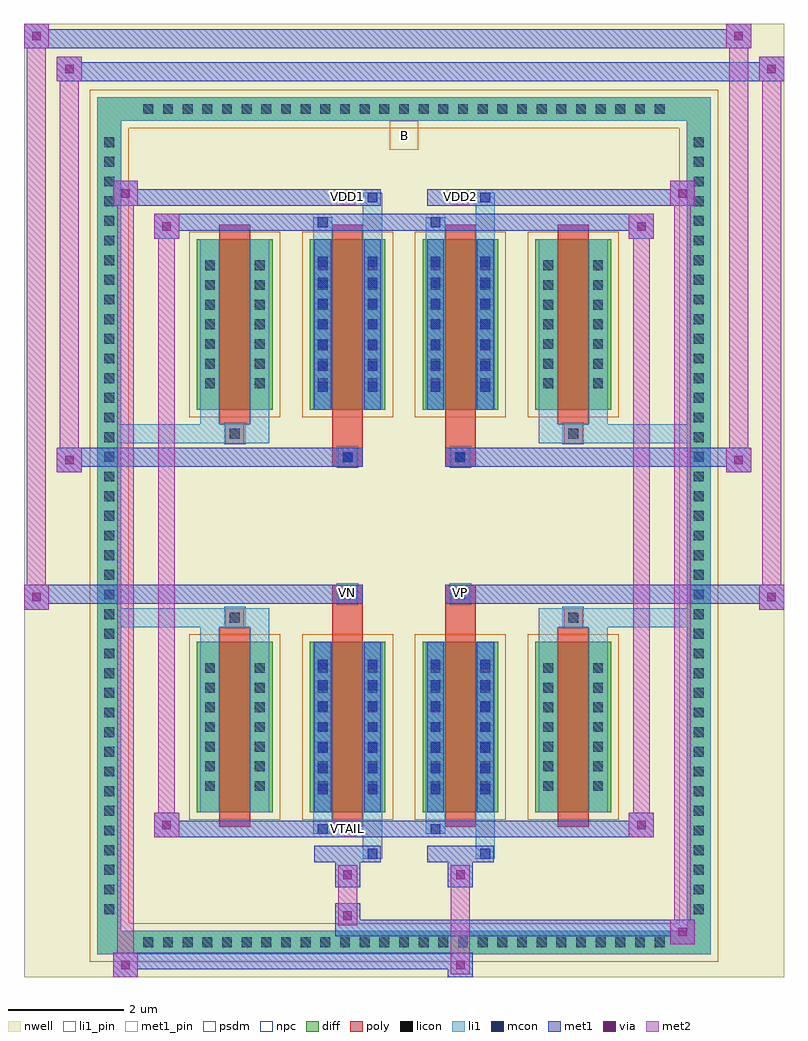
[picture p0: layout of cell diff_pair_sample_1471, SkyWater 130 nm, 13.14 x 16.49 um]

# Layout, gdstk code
import gdstk
lib = gdstk.Library(unit=1e-6, precision=5e-09)
def R(c, l, rs):  # rectangles x0, y0, x1, y1
    for r in rs: c.add(gdstk.rectangle(r[:2], r[2:], *l))
def A(c, l, x, y, w, h, nx, ny, dx, dy):  # array of equal rectangles
    R(c, l, [(x+i*dx, y+j*dy, x+i*dx+w, y+j*dy+h) for i in range(nx) for j in range(ny)])
def P(c, l, *ps):  # polygons
    for p in ps: c.add(gdstk.Polygon(p, *l))
nwell = (64, 20)
diff = (65, 20)
poly = (66, 20)
licon = (66, 44)
li1_pin = (67, 16)
li1 = (67, 20)
mcon = (67, 44)
met1_pin = (68, 16)
met1 = (68, 20)
via = (68, 44)
met2 = (69, 20)
psdm = (94, 20)
npc = (95, 20)

diff_pair_sample_1471 = lib.new_cell('diff_pair_sample_1471')
R(diff_pair_sample_1471, nwell, [(-6.57,-7.81,6.57,8.68), (-3.89,-6,-0.01,-0.82), (0.01,-6,3.89,-0.82), (-3.89,0.82,-0.01,6), (0.01,0.82,3.89,6)])
A(diff_pair_sample_1471, diff, -4.625, -7.41, 0.41, 0.41, 27, 2, 0.34, 14.41)
A(diff_pair_sample_1471, diff, -5.3, -6.835, 0.41, 0.41, 1, 40, 0, 0.34)
A(diff_pair_sample_1471, diff, 4.89, -6.835, 0.41, 0.41, 1, 40, 0, 0.34)
A(diff_pair_sample_1471, diff, -3.58, -4.955, 1.31, 2.95, 4, 2, 1.95, 6.96)
R(diff_pair_sample_1471, diff, [(-4.625,-7.41,4.625,-7), (-5.3,-6.835,-4.89,6.835), (4.89,-6.835,5.3,6.835), (-4.625,7,4.625,7.41)])
P(diff_pair_sample_1471, diff, [(5.3,7.41),(-5.3,7.41),(-5.3,-7),(-4.89,-7),(-4.89,7),(4.89,7),(4.89,-7),(-4.89,-7),(-5.3,-7),(-5.3,-7.41),(5.3,-7.41)])
A(diff_pair_sample_1471, poly, -3.19, -5.205, 0.53, 3.45, 4, 2, 1.95, 6.96)
R(diff_pair_sample_1471, poly, [(-3.09,-1.755,-2.76,-1.425), (-3.09,-1.755,-2.76,-1.425), (-1.24,-1.755,-0.71,-1.35), (0.71,-1.755,1.24,-1.35), (2.76,-1.755,3.09,-1.425), (2.76,-1.755,3.09,-1.425), (-1.24,-1.35,-0.71,-1.02), (-1.14,-1.35,-0.81,-1.02), (0.71,-1.35,1.24,-1.02), (0.81,-1.35,1.14,-1.02), (-1.24,1.02,-0.71,1.35), (-1.14,1.02,-0.81,1.35), (0.71,1.02,1.24,1.35), (0.81,1.02,1.14,1.35), (-1.24,1.35,-0.71,1.755), (0.71,1.35,1.24,1.755), (-3.09,1.425,-2.76,1.755), (-3.09,1.425,-2.76,1.755), (2.76,1.425,3.09,1.755), (2.76,1.425,3.09,1.755)])
A(diff_pair_sample_1471, licon, -4.505, -7.29, 0.17, 0.17, 27, 2, 0.34, 14.41)
A(diff_pair_sample_1471, licon, -5.18, -6.715, 0.17, 0.17, 1, 40, 0, 0.34)
A(diff_pair_sample_1471, licon, 5.01, -6.715, 0.17, 0.17, 1, 40, 0, 0.34)
A(diff_pair_sample_1471, licon, -3.44, -4.585, 0.17, 0.17, 1, 7, 0, 0.34)
A(diff_pair_sample_1471, licon, -2.58, -4.585, 0.17, 0.17, 1, 7, 0, 0.34)
A(diff_pair_sample_1471, licon, -1.49, -4.585, 0.17, 0.17, 1, 7, 0, 0.34)
A(diff_pair_sample_1471, licon, -0.63, -4.585, 0.17, 0.17, 1, 7, 0, 0.34)
A(diff_pair_sample_1471, licon, 0.46, -4.585, 0.17, 0.17, 1, 7, 0, 0.34)
A(diff_pair_sample_1471, licon, 1.32, -4.585, 0.17, 0.17, 1, 7, 0, 0.34)
A(diff_pair_sample_1471, licon, 2.41, -4.585, 0.17, 0.17, 1, 7, 0, 0.34)
A(diff_pair_sample_1471, licon, 3.27, -4.585, 0.17, 0.17, 1, 7, 0, 0.34)
A(diff_pair_sample_1471, licon, -3.44, 2.375, 0.17, 0.17, 1, 7, 0, 0.34)
A(diff_pair_sample_1471, licon, -2.58, 2.375, 0.17, 0.17, 1, 7, 0, 0.34)
A(diff_pair_sample_1471, licon, -1.49, 2.375, 0.17, 0.17, 1, 7, 0, 0.34)
A(diff_pair_sample_1471, licon, -0.63, 2.375, 0.17, 0.17, 1, 7, 0, 0.34)
A(diff_pair_sample_1471, licon, 0.46, 2.375, 0.17, 0.17, 1, 7, 0, 0.34)
A(diff_pair_sample_1471, licon, 1.32, 2.375, 0.17, 0.17, 1, 7, 0, 0.34)
A(diff_pair_sample_1471, licon, 2.41, 2.375, 0.17, 0.17, 1, 7, 0, 0.34)
A(diff_pair_sample_1471, licon, 3.27, 2.375, 0.17, 0.17, 1, 7, 0, 0.34)
R(diff_pair_sample_1471, licon, [(-3.01,-1.675,-2.84,-1.505), (2.84,-1.675,3.01,-1.505), (-1.06,-1.27,-0.89,-1.1), (0.89,-1.27,1.06,-1.1), (-1.06,1.1,-0.89,1.27), (0.89,1.1,1.06,1.27), (-3.01,1.505,-2.84,1.675), (2.84,1.505,3.01,1.675)])
R(diff_pair_sample_1471, li1_pin, [(-0.25,6.5,0.25,7)])
A(diff_pair_sample_1471, li1, -4.585, -7.37, 0.33, 0.33, 27, 2, 0.34, 14.41)
A(diff_pair_sample_1471, li1, -5.26, -6.795, 0.33, 0.33, 1, 40, 0, 0.34)
A(diff_pair_sample_1471, li1, 4.93, -6.795, 0.33, 0.33, 1, 40, 0, 0.34)
A(diff_pair_sample_1471, li1, -3.52, -4.665, 0.33, 0.33, 1, 7, 0, 0.34)
A(diff_pair_sample_1471, li1, -2.66, -4.665, 0.33, 0.33, 1, 7, 0, 0.34)
A(diff_pair_sample_1471, li1, -1.57, -4.665, 0.33, 0.33, 1, 7, 0, 0.34)
A(diff_pair_sample_1471, li1, -0.71, -4.665, 0.33, 0.33, 1, 7, 0, 0.34)
A(diff_pair_sample_1471, li1, 0.38, -4.665, 0.33, 0.33, 1, 7, 0, 0.34)
A(diff_pair_sample_1471, li1, 1.24, -4.665, 0.33, 0.33, 1, 7, 0, 0.34)
A(diff_pair_sample_1471, li1, 2.33, -4.665, 0.33, 0.33, 1, 7, 0, 0.34)
A(diff_pair_sample_1471, li1, 3.19, -4.665, 0.33, 0.33, 1, 7, 0, 0.34)
A(diff_pair_sample_1471, li1, -1.49, -4.645, 0.17, 0.17, 1, 7, 0, 0.36)
A(diff_pair_sample_1471, li1, -0.63, -4.645, 0.17, 0.17, 1, 7, 0, 0.36)
A(diff_pair_sample_1471, li1, 0.46, -4.645, 0.17, 0.17, 1, 7, 0, 0.36)
A(diff_pair_sample_1471, li1, 1.32, -4.645, 0.17, 0.17, 1, 7, 0, 0.36)
A(diff_pair_sample_1471, li1, -3.52, 2.295, 0.33, 0.33, 1, 7, 0, 0.34)
A(diff_pair_sample_1471, li1, -2.66, 2.295, 0.33, 0.33, 1, 7, 0, 0.34)
A(diff_pair_sample_1471, li1, -1.57, 2.295, 0.33, 0.33, 1, 7, 0, 0.34)
A(diff_pair_sample_1471, li1, -0.71, 2.295, 0.33, 0.33, 1, 7, 0, 0.34)
A(diff_pair_sample_1471, li1, 0.38, 2.295, 0.33, 0.33, 1, 7, 0, 0.34)
A(diff_pair_sample_1471, li1, 1.24, 2.295, 0.33, 0.33, 1, 7, 0, 0.34)
A(diff_pair_sample_1471, li1, 2.33, 2.295, 0.33, 0.33, 1, 7, 0, 0.34)
A(diff_pair_sample_1471, li1, 3.19, 2.295, 0.33, 0.33, 1, 7, 0, 0.34)
A(diff_pair_sample_1471, li1, -1.49, 2.315, 0.17, 0.17, 1, 7, 0, 0.36)
A(diff_pair_sample_1471, li1, -0.63, 2.315, 0.17, 0.17, 1, 7, 0, 0.36)
A(diff_pair_sample_1471, li1, 0.46, 2.315, 0.17, 0.17, 1, 7, 0, 0.36)
A(diff_pair_sample_1471, li1, 1.32, 2.315, 0.17, 0.17, 1, 7, 0, 0.36)
R(diff_pair_sample_1471, li1, [(-5.3,-7.41,-4.89,-7), (-5.3,-7.41,-4.89,-7), (-4.89,-7.41,4.89,-7), (4.89,-7.41,5.3,-7), (4.89,-7.41,5.3,-7), (-5.3,-7,-4.89,7), (4.89,-7,5.3,7), (-0.71,-5.76,-0.38,-4.955), (-0.63,-5.76,-0.46,-5.59), (1.24,-5.76,1.57,-4.955), (1.32,-5.76,1.49,-5.59), (-1.57,-5.33,-1.24,-4.955), (-1.49,-5.33,-1.32,-5.16), (0.38,-5.33,0.71,-4.955), (0.46,-5.33,0.63,-5.16), (-3.52,-4.955,-3.19,-2.005), (-2.66,-4.955,-2.33,-2.005), (-1.57,-4.955,-1.24,-2.005), (-0.71,-4.955,-0.38,-2.005), (0.38,-4.955,0.71,-2.005), (1.24,-4.955,1.57,-2.005), (2.33,-4.955,2.66,-2.005), (3.19,-4.955,3.52,-2.005), (-1.49,-4.645,-1.32,-2.315), (-0.63,-4.645,-0.46,-2.315), (0.46,-4.645,0.63,-2.315), (1.32,-4.645,1.49,-2.315), (-3.52,-2.005,-3.19,-1.425), (-2.66,-2.005,-2.33,-1.425), (2.33,-2.005,2.66,-1.425), (3.19,-2.005,3.52,-1.425), (-5.3,-1.755,-3.09,-1.425), (-3.52,-1.755,-3.09,-1.425), (-3.09,-1.755,-2.76,-1.425), (-2.76,-1.755,-2.33,-1.425), (2.33,-1.755,2.76,-1.425), (2.76,-1.755,3.09,-1.425), (2.76,-1.755,5.3,-1.425), (3.09,-1.755,3.52,-1.425), (-1.14,-1.35,-0.81,-1.02), (0.81,-1.35,1.14,-1.02), (-1.14,1.02,-0.81,1.35), (0.81,1.02,1.14,1.35), (-5.3,1.425,-3.09,1.755), (-3.52,1.425,-3.09,1.755), (-3.52,1.425,-3.19,2.005), (-3.09,1.425,-2.76,1.755), (-2.76,1.425,-2.33,1.755), (-2.66,1.425,-2.33,2.005), (2.33,1.425,2.76,1.755), (2.33,1.425,2.66,2.005), (2.76,1.425,3.09,1.755), (2.76,1.425,5.3,1.755), (3.09,1.425,3.52,1.755), (3.19,1.425,3.52,2.005), (-3.52,2.005,-3.19,4.955), (-2.66,2.005,-2.33,4.955), (-1.57,2.005,-1.24,4.955), (-0.71,2.005,-0.38,4.955), (0.38,2.005,0.71,4.955), (1.24,2.005,1.57,4.955), (2.33,2.005,2.66,4.955), (3.19,2.005,3.52,4.955), (-1.49,2.315,-1.32,4.645), (-0.63,2.315,-0.46,4.645), (0.46,2.315,0.63,4.645), (1.32,2.315,1.49,4.645), (-1.57,4.955,-1.24,5.33), (-0.71,4.955,-0.38,5.76), (0.38,4.955,0.71,5.33), (1.24,4.955,1.57,5.76), (-1.49,5.16,-1.32,5.33), (0.46,5.16,0.63,5.33), (-0.63,5.59,-0.46,5.76), (1.32,5.59,1.49,5.76), (-5.3,7,-4.89,7.41), (-5.3,7,-4.89,7.41), (-4.89,7,4.89,7.41), (4.89,7,5.3,7.41), (4.89,7,5.3,7.41)])
A(diff_pair_sample_1471, mcon, -1.49, -4.645, 0.17, 0.17, 1, 7, 0, 0.36)
A(diff_pair_sample_1471, mcon, -0.63, -4.645, 0.17, 0.17, 1, 7, 0, 0.36)
A(diff_pair_sample_1471, mcon, 0.46, -4.645, 0.17, 0.17, 1, 7, 0, 0.36)
A(diff_pair_sample_1471, mcon, 1.32, -4.645, 0.17, 0.17, 1, 7, 0, 0.36)
A(diff_pair_sample_1471, mcon, -1.49, 2.315, 0.17, 0.17, 1, 7, 0, 0.36)
A(diff_pair_sample_1471, mcon, -0.63, 2.315, 0.17, 0.17, 1, 7, 0, 0.36)
A(diff_pair_sample_1471, mcon, 0.46, 2.315, 0.17, 0.17, 1, 7, 0, 0.36)
A(diff_pair_sample_1471, mcon, 1.32, 2.315, 0.17, 0.17, 1, 7, 0, 0.36)
R(diff_pair_sample_1471, mcon, [(-0.63,-5.76,-0.46,-5.59), (1.32,-5.76,1.49,-5.59), (-1.49,-5.33,-1.32,-5.16), (0.46,-5.33,0.63,-5.16), (-1.06,-1.27,-0.89,-1.1), (0.89,-1.27,1.06,-1.1), (-1.06,1.1,-0.89,1.27), (0.89,1.1,1.06,1.27), (-1.49,5.16,-1.32,5.33), (0.46,5.16,0.63,5.33), (-0.63,5.59,-0.46,5.76), (1.32,5.59,1.49,5.76)])
R(diff_pair_sample_1471, met1_pin, [(-1.11,-5.37,-0.84,-5.1), (-1.11,-1.29,-0.84,-1.02), (0.84,-1.29,1.11,-1.02), (-1.11,5.55,-0.84,5.82), (0.84,5.55,1.11,5.82)])
A(diff_pair_sample_1471, met1, -1.55, -4.705, 0.29, 0.29, 1, 7, 0, 0.36)
A(diff_pair_sample_1471, met1, -0.69, -4.705, 0.29, 0.29, 1, 7, 0, 0.36)
A(diff_pair_sample_1471, met1, 0.4, -4.705, 0.29, 0.29, 1, 7, 0, 0.36)
A(diff_pair_sample_1471, met1, 1.26, -4.705, 0.29, 0.29, 1, 7, 0, 0.36)
A(diff_pair_sample_1471, met1, -1.55, 2.255, 0.29, 0.29, 1, 7, 0, 0.36)
A(diff_pair_sample_1471, met1, -0.69, 2.255, 0.29, 0.29, 1, 7, 0, 0.36)
A(diff_pair_sample_1471, met1, 0.4, 2.255, 0.29, 0.29, 1, 7, 0, 0.36)
A(diff_pair_sample_1471, met1, 1.26, 2.255, 0.29, 0.29, 1, 7, 0, 0.36)
R(diff_pair_sample_1471, met1, [(-5.03,-7.81,-4.6,-7.38), (0.76,-7.81,1.19,-7.38), (-5.03,-7.67,1.19,-7.38), (4.6,-7.24,5.03,-6.81), (-1.19,-7.1,5.03,-6.81), (-1.19,-6.96,-0.76,-6.53), (-1.19,-6.25,-0.76,-5.82), (0.76,-6.25,1.19,-5.82), (-1.55,-5.82,-0.4,-5.53), (-0.69,-5.82,-0.4,-5.53), (0.4,-5.82,1.55,-5.53), (1.26,-5.82,1.55,-5.53), (-4.32,-5.39,-3.89,-4.96), (-4.32,-5.39,-1.55,-5.1), (-1.55,-5.39,-1.26,-5.1), (-1.55,-5.39,-0.4,-5.1), (-0.4,-5.39,0.4,-5.1), (0.4,-5.39,0.69,-5.1), (0.4,-5.39,1.55,-5.1), (1.55,-5.39,4.32,-5.1), (3.89,-5.39,4.32,-4.96), (-1.55,-4.955,-1.26,-2.005), (-0.69,-4.955,-0.4,-2.005), (0.4,-4.955,0.69,-2.005), (1.26,-4.955,1.55,-2.005), (-6.57,-1.45,-6.14,-1.02), (6.14,-1.45,6.57,-1.02), (-6.57,-1.35,-0.71,-1.02), (-1.24,-1.35,-0.71,-1.02), (0.71,-1.35,1.24,-1.02), (0.71,-1.35,6.57,-1.02), (-1.12,-1.33,-0.83,-1.04), (0.83,-1.33,1.12,-1.04), (-6,0.92,-5.57,1.35), (5.57,0.92,6,1.35), (-6,1.02,-1.24,1.35), (-1.24,1.02,-0.71,1.35), (0.71,1.02,1.24,1.35), (1.24,1.02,6,1.35), (-1.12,1.04,-0.83,1.33), (0.83,1.04,1.12,1.33), (-1.55,2.005,-1.26,4.955), (-0.69,2.005,-0.4,4.955), (0.4,2.005,0.69,4.955), (1.26,2.005,1.55,4.955), (-4.32,4.96,-3.89,5.39), (3.89,4.96,4.32,5.39), (-4.32,5.1,-1.55,5.39), (-1.55,5.1,-1.26,5.39), (-1.55,5.1,-0.4,5.39), (-0.4,5.1,0.4,5.39), (0.4,5.1,0.69,5.39), (0.4,5.1,1.55,5.39), (1.55,5.1,4.32,5.39), (-5.03,5.53,-4.6,5.96), (-5.03,5.53,-1.55,5.82), (-1.55,5.53,-0.4,5.82), (-0.69,5.53,-0.4,5.82), (0.4,5.53,1.55,5.82), (1.26,5.53,1.55,5.82), (1.55,5.53,5.03,5.82), (4.6,5.53,5.03,5.96), (-6,7.68,-5.57,8.11), (-6,7.68,-3.89,8.01), (-3.89,7.68,3.89,8.01), (3.89,7.68,6.57,8.01), (6.14,7.68,6.57,8.11), (-6.57,8.25,-6.14,8.68), (-6.57,8.25,-3.89,8.58), (-3.89,8.25,3.89,8.58), (3.89,8.25,6,8.58), (5.57,8.25,6,8.68)])
R(diff_pair_sample_1471, via, [(-4.89,-7.67,-4.74,-7.52), (0.9,-7.67,1.05,-7.52), (4.74,-7.1,4.89,-6.95), (-1.05,-6.82,-0.9,-6.67), (-1.05,-6.11,-0.9,-5.96), (0.9,-6.11,1.05,-5.96), (-4.18,-5.25,-4.03,-5.1), (4.03,-5.25,4.18,-5.1), (-6.43,-1.31,-6.28,-1.16), (6.28,-1.31,6.43,-1.16), (-5.86,1.06,-5.71,1.21), (5.71,1.06,5.86,1.21), (-4.18,5.1,-4.03,5.25), (4.03,5.1,4.18,5.25), (-4.89,5.67,-4.74,5.82), (4.74,5.67,4.89,5.82), (-5.86,7.82,-5.71,7.97), (6.28,7.82,6.43,7.97), (-6.43,8.39,-6.28,8.54), (5.71,8.39,5.86,8.54)])
R(diff_pair_sample_1471, met2, [(-5.03,-7.81,-4.6,-7.38), (-4.96,-7.81,-4.67,5.96), (-4.67,-7.81,-4.6,-7.38), (-4.98,-7.76,-4.65,-7.43), (0.81,-7.76,1.14,-7.43), (0.81,-7.43,1.14,-6.2), (4.6,-7.24,5.03,-6.81), (4.67,-7.24,4.96,5.96), (4.96,-7.24,5.03,-6.81), (4.65,-7.19,4.98,-6.86), (-1.14,-6.91,-0.81,-6.58), (-1.14,-6.58,-0.81,-6.2), (-1.14,-6.2,-0.81,-5.87), (0.81,-6.2,1.14,-5.87), (-4.32,-5.39,-3.89,-4.96), (-4.25,-5.39,-3.96,5.39), (-3.96,-5.39,-3.89,-4.96), (3.89,-5.39,4.32,-4.96), (3.96,-5.39,4.25,5.39), (4.25,-5.39,4.32,-4.96), (-4.27,-5.34,-3.94,-5.01), (3.94,-5.34,4.27,-5.01), (-6.57,-1.45,-6.14,-1.02), (-6.52,-1.45,-6.19,8.68), (-6.19,-1.45,-6.14,-1.02), (6.14,-1.45,6.57,-1.02), (6.19,-1.45,6.52,8.11), (6.52,-1.45,6.57,-1.02), (-6.52,-1.4,-6.19,-1.07), (6.19,-1.4,6.52,-1.07), (-6,0.92,-5.57,1.35), (-5.95,0.92,-5.62,8.11), (-5.62,0.92,-5.57,1.35), (5.57,0.92,6,1.35), (5.62,0.92,5.95,8.68), (5.95,0.92,6,1.35), (-5.95,0.97,-5.62,1.3), (5.62,0.97,5.95,1.3), (-4.32,4.96,-3.89,5.39), (-3.96,4.96,-3.89,5.39), (3.89,4.96,4.32,5.39), (4.25,4.96,4.32,5.39), (-4.27,5.01,-3.94,5.34), (3.94,5.01,4.27,5.34), (-5.03,5.53,-4.6,5.96), (-4.67,5.53,-4.6,5.96), (4.6,5.53,5.03,5.96), (4.96,5.53,5.03,5.96), (-4.98,5.58,-4.65,5.91), (4.65,5.58,4.98,5.91), (-6,7.68,-5.57,8.11), (-5.62,7.68,-5.57,8.11), (6.14,7.68,6.57,8.11), (6.52,7.68,6.57,8.11), (-5.95,7.73,-5.62,8.06), (6.19,7.73,6.52,8.06), (-6.57,8.25,-6.14,8.68), (-6.19,8.25,-6.14,8.68), (5.57,8.25,6,8.68), (5.95,8.25,6,8.68), (-6.52,8.3,-6.19,8.63), (5.62,8.3,5.95,8.63)])
A(diff_pair_sample_1471, psdm, -3.71, -5.085, 1.57, 3.21, 4, 2, 1.95, 6.96)
P(diff_pair_sample_1471, psdm, [(5.43,7.54),(-5.43,7.54),(-5.43,-6.87),(-4.76,-6.87),(-4.76,6.87),(4.76,6.87),(4.76,-6.87),(-4.76,-6.87),(-5.43,-6.87),(-5.43,-7.54),(5.43,-7.54)])
R(diff_pair_sample_1471, npc, [(-3.11,-1.775,-2.74,-1.405), (2.74,-1.775,3.11,-1.405), (-1.16,-1.37,-0.79,-1), (0.79,-1.37,1.16,-1), (-1.16,1,-0.79,1.37), (0.79,1,1.16,1.37), (-3.11,1.405,-2.74,1.775), (2.74,1.405,3.11,1.775)])
diff_pair_sample_1471.add(gdstk.Label('VTAIL', (-0.975,-5.235), layer=68, texttype=5))
diff_pair_sample_1471.add(gdstk.Label('VN', (-0.975,-1.155), layer=68, texttype=5))
diff_pair_sample_1471.add(gdstk.Label('VP', (0.975,-1.155), layer=68, texttype=5))
diff_pair_sample_1471.add(gdstk.Label('B', (0,6.75), layer=67, texttype=5))
diff_pair_sample_1471.add(gdstk.Label('VDD2', (0.975,5.685), layer=68, texttype=5))
diff_pair_sample_1471.add(gdstk.Label('VDD1', (-0.975,5.685), layer=68, texttype=5))

lib.write_gds('diff_pair_sample_1471.gds')
